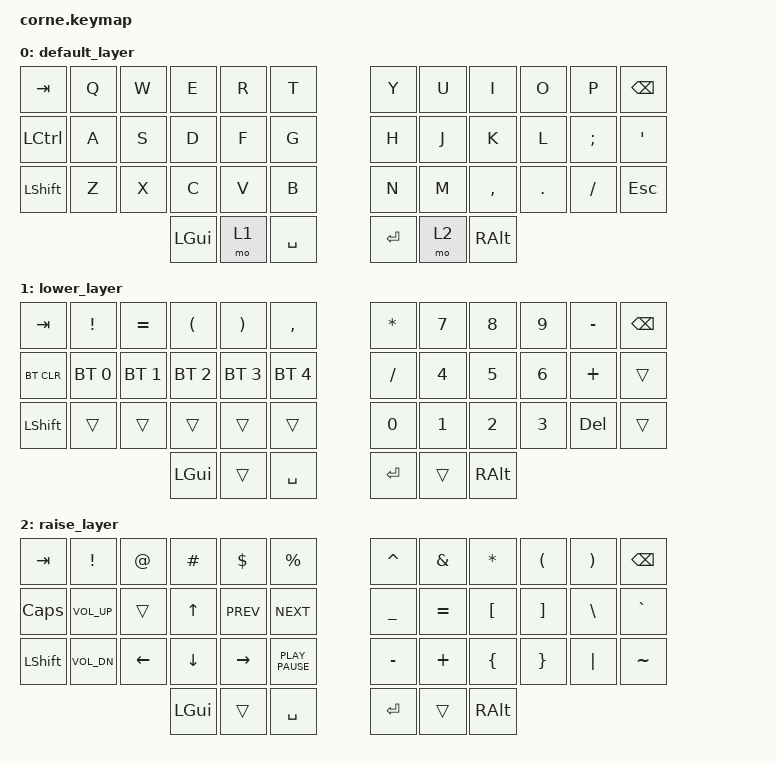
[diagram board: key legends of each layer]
/*
 * Copyright (c) 2020 The ZMK Contributors
 *
 * SPDX-License-Identifier: MIT
 */

#include <behaviors.dtsi>
#include <dt-bindings/zmk/bt.h>
#include <dt-bindings/zmk/keys.h>

/ {
    keymap {
        compatible = "zmk,keymap";

        default_layer {
            // -----------------------------------------------------------------------------------------
            // |  TAB |  Q  |  W  |  E  |  R  |  T  |   |  Y  |  U   |  I  |  O  |  P  | BSPC |
            // | CTRL |  A  |  S  |  D  |  F  |  G  |   |  H  |  J   |  K  |  L  |  ;  |  '   |
            // | SHFT |  Z  |  X  |  C  |  V  |  B  |   |  N  |  M   |  ,  |  .  |  /  | ESC  |
            //                    | GUI | LWR | SPC |   | ENT | RSE  | ALT |

            bindings = <
&kp TAB    &kp Q  &kp W  &kp E     &kp R  &kp T        &kp Y    &kp U  &kp I      &kp O    &kp P     &kp BSPC
&kp LCTRL  &kp A  &kp S  &kp D     &kp F  &kp G        &kp H    &kp J  &kp K      &kp L    &kp SEMI  &kp SQT
&kp LSHFT  &kp Z  &kp X  &kp C     &kp V  &kp B        &kp N    &kp M  &kp COMMA  &kp DOT  &kp FSLH  &kp ESC
                         &kp LGUI  &mo 1  &kp SPACE    &kp RET  &mo 2  &kp RALT
            >;
        };

        lower_layer {
            // -----------------------------------------------------------------------------------------
            // |  TAB |  1  |  2  |  3  |  4  |  5  |   |  6  |  7  |  8  |  9  |  0  | BSPC |
            // | BTCLR| BT1 | BT2 | BT3 | BT4 | BT5 |   | LFT | DWN |  UP | RGT |     |      |
            // | SHFT |     |     |     |     |     |   |     |     |     |     |     |      |
            //                    | GUI |     | SPC |   | ENT |     | ALT |

            bindings = <
&kp TAB     &kp EXCL      &kp EQUAL     &kp LEFT_PARENTHESIS  &kp RIGHT_PARENTHESIS  &kp COMMA       &kp STAR  &kp N7  &kp N8    &kp N9  &kp MINUS   &kp BACKSPACE
&bt BT_CLR  &bt BT_SEL 0  &bt BT_SEL 1  &bt BT_SEL 2          &bt BT_SEL 3           &bt BT_SEL 4    &kp FSLH  &kp N4  &kp N5    &kp N6  &kp PLUS    &trans
&kp LSHFT   &trans        &trans        &trans                &trans                 &trans          &kp N0    &kp N1  &kp N2    &kp N3  &kp DELETE  &trans
                                        &kp LGUI              &trans                 &kp SPACE       &kp RET   &trans  &kp RALT
            >;
        };

        raise_layer {
            // -----------------------------------------------------------------------------------------
            // |  TAB |  !  |  @  |  #  |  $  |  %  |   |  ^  |  &  |  *  |  (  |  )  | BSPC |
            // | CTRL |     |     |     |     |     |   |  -  |  =  |  [  |  ]  |  \  |  `   |
            // | SHFT |     |     |     |     |     |   |  _  |  +  |  {  |  }  | "|" |  ~   |
            //                    | GUI |     | SPC |   | ENT |     | ALT |

            bindings = <
&kp TAB       &kp EXCL         &kp AT    &kp HASH      &kp DLLR    &kp PRCNT           &kp CARET  &kp AMPS   &kp ASTRK  &kp LPAR  &kp RPAR  &kp BSPC
&kp CAPSLOCK  &kp C_VOLUME_UP  &trans    &kp UP_ARROW  &kp C_PREV  &kp K_NEXT          &kp UNDER  &kp EQUAL  &kp LBKT   &kp RBKT  &kp BSLH  &kp GRAVE
&kp LSHFT     &kp C_VOL_DN     &kp LEFT  &kp DOWN      &kp RIGHT   &kp K_PLAY_PAUSE    &kp MINUS  &kp PLUS   &kp LBRC   &kp RBRC  &kp PIPE  &kp TILDE
                                         &kp LGUI      &trans      &kp SPACE           &kp RET    &trans     &kp RALT
            >;
        };
    };
};
